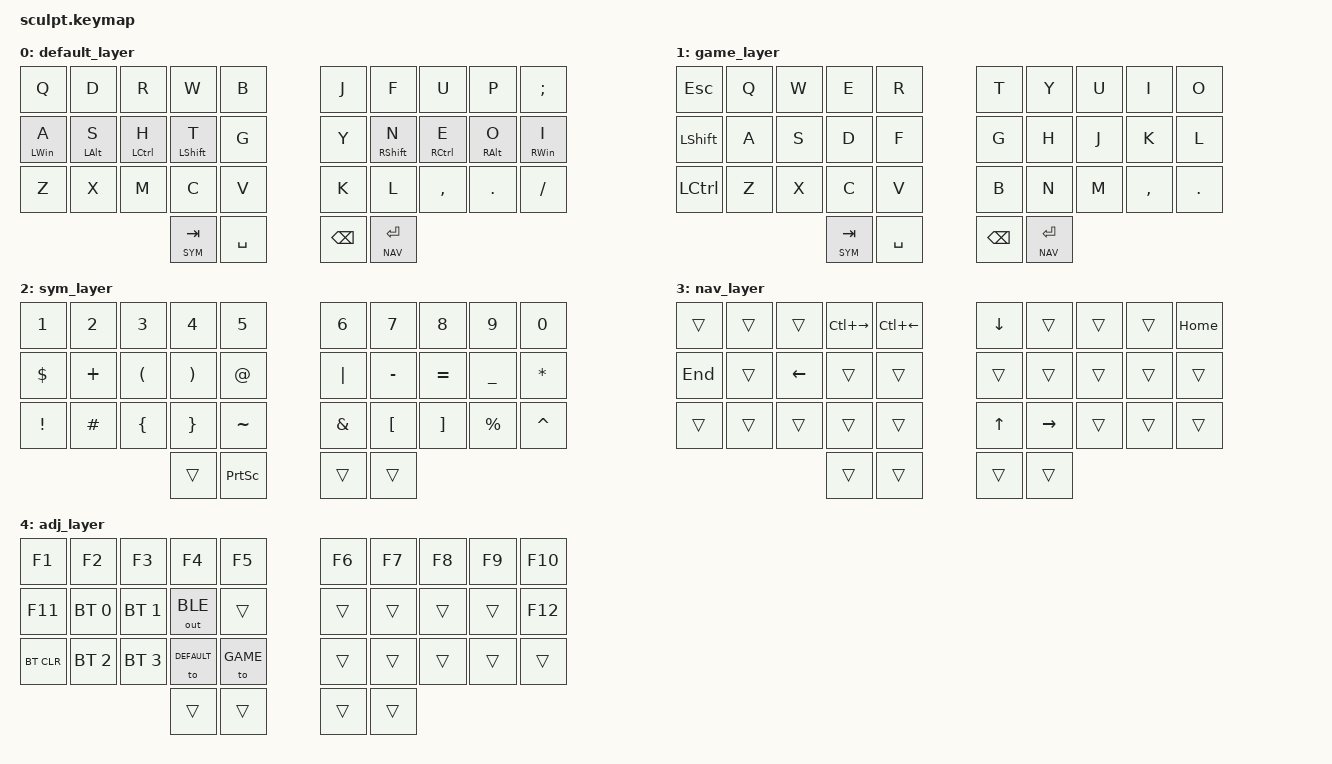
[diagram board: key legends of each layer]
/*
 * Copyright (c) 2020 The ZMK Contributors
 *
 * SPDX-License-Identifier: MIT
 */

#include <behaviors.dtsi>
#include <dt-bindings/zmk/keys.h>
#include <dt-bindings/zmk/bt.h>
#include <dt-bindings/zmk/outputs.h>

#define DEFAULT 0
#define GAME    1
#define SYM     2
#define NAV     3
#define ADJ     4
&mt {
    tapping-term-ms = <170>;
    flavor = "tap-preferred";
};
/ { 

    combos {
        compatible = "zmk,combos";
        combo_esc {
                timeout-ms = <50>;
                key-positions = <0 31>;
                bindings = <&kp ESC>;
        };
        combo_qot {
                timeout-ms = <50>;
                key-positions = <19 32>;
                bindings = <&kp SQT>;
        };
        combo_grv {
                timeout-ms = <50>;
                key-positions = <20 31>;
                bindings = <&kp GRAVE>;
        };
        combo_bs {
                timeout-ms = <50>;
                key-positions = <29 32>;
                bindings = <&kp BSLH>;
        };
        combo_del {
                timeout-ms = <50>;
                key-positions = <10 31>;
                bindings = <&kp DEL>;
        };
    };
    conditional_layers {
        compatible = "zmk,conditional-layers";
        tri_layer {
            if-layers = <SYM NAV>;
            then-layer = <ADJ>;
        };
    };

	keymap {
		compatible = "zmk,keymap";
                
        default_layer {
            bindings = < 
            &kp Q       &kp D       &kp R       &kp W       &kp B       &kp J       &kp F       &kp U       &kp P       &kp SEMI 
            &mt LWIN A  &mt LALT S  &mt LCTRL H &mt LSHFT T &kp G       &kp Y       &mt RSHFT N &mt RCTRL E &mt RALT O  &mt RWIN I
            &kp Z       &kp X       &kp M       &kp C       &kp V       &kp K       &kp L       &kp COMMA   &kp DOT     &kp SLASH
                                                &lt SYM TAB &kp SPACE   &kp BSPC    &lt NAV ENTER
            >;
		};
        game_layer {
            bindings = < 
            &kp ESC     &kp Q     &kp W     &kp E     &kp R     &kp T     &kp Y     &kp U     &kp I     &kp O     
            &kp LSHFT   &kp A     &kp S     &kp D     &kp F     &kp G     &kp H     &kp J     &kp K     &kp L
            &kp LCTRL   &kp Z     &kp X     &kp C     &kp V     &kp B     &kp N     &kp M     &kp COMMA &kp DOT
                                            &lt SYM TAB &kp SPACE   &kp BSPC    &lt NAV ENTER
            >;
		};
        sym_layer {
            bindings = < 
            &kp N1      &kp N2      &kp N3      &kp N4      &kp N5      &kp N6      &kp N7      &kp N8      &kp N9      &kp N0  
            &kp DLLR    &kp PLUS    &kp LPAR    &kp RPAR    &kp AT      &kp PIPE    &kp MINUS   &kp EQUAL   &kp UNDER   &kp STAR
            &kp EXCL    &kp HASH    &kp LBRC    &kp RBRC    &kp TILDE   &kp AMPS    &kp LBKT    &kp RBKT    &kp PRCNT   &kp CARET 
                                                &trans      &kp PSCRN   &trans      &trans
            >;
		};
        nav_layer {
            bindings = < 
            &trans      &trans      &trans      &kp LC(RIGHT) &kp LC(LEFT) &kp DOWN &trans      &trans      &trans      &kp HOME
            &kp END     &trans      &kp LEFT    &trans      &trans      &trans      &trans      &trans      &trans      &trans      
            &trans      &trans      &trans      &trans      &trans      &kp UP      &kp RIGHT   &trans      &trans      &trans      
                                                &trans      &trans      &trans      &trans
            >;
		};
        
        adj_layer {
            bindings = < 
            &kp F1      &kp F2      &kp F3          &kp F4          &kp F5      &kp F6      &kp F7      &kp F8      &kp F9      &kp F10  
            &kp F11     &bt BT_SEL 0 &bt BT_SEL 1   &out OUT_BLE    &trans      &trans      &trans      &trans      &trans      &kp F12      
            &bt BT_CLR  &bt BT_SEL 2 &bt BT_SEL 3   &to DEFAULT     &to GAME    &trans      &trans      &trans      &trans      &trans      
                                                &trans      &trans      &trans      &trans
            >;
		};
        /*
        nav_layer {
            bindings = < 
            &trans      &trans      &trans      &trans      &trans      &trans      &trans      &trans      &trans      &trans      
            &trans      &trans      &trans      &trans      &trans      &trans      &trans      &trans      &trans      &trans      
            &trans      &trans      &trans      &trans      &trans      &trans      &trans      &trans      &trans      &trans      
                                                &trans      &trans      &trans      &trans
            >;
		};*/
	};
};
